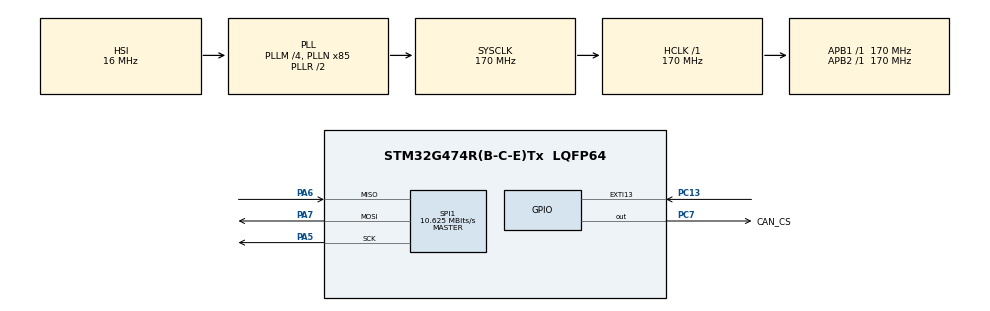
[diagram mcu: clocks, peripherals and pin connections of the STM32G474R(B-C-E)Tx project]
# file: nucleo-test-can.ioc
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Mcu.Family=STM32G4
Mcu.Name=STM32G474R(B-C-E)Tx
Mcu.Package=LQFP64
NUCLEO-G474RE.BUTTON=1
NUCLEO-G474RE.LD2=false
NUCLEO-G474RE.VCP=true
NVIC.EXTI15_10_IRQn=true\:0\:0\:false\:false\:true\:true\:true\:true
NVIC.PriorityGroup=NVIC_PRIORITYGROUP_4
PA13.GPIO_Label=T_SWDIO
PA13.Signal=SYS_JTMS-SWDIO
PA14.GPIO_Label=T_SWCLK
PA14.Signal=SYS_JTCK-SWCLK
PA2.Signal=LPUART1_TX
PA3.Signal=LPUART1_RX
PA5.Mode=Full_Duplex_Master
PA5.Signal=SPI1_SCK
PA6.Mode=Full_Duplex_Master
PA6.Signal=SPI1_MISO
PA7.Mode=Full_Duplex_Master
PA7.Signal=SPI1_MOSI
PB3.GPIO_Label=T_SWO
PB3.Signal=SYS_JTDO-SWO
PC13.Signal=GPXTI13
PC14-OSC32_IN.GPIO_Label=RCC_OSC32_IN
PC14-OSC32_IN.Signal=RCC_OSC32_IN
PC15-OSC32_OUT.GPIO_Label=RCC_OSC32_OUT
PC15-OSC32_OUT.Signal=RCC_OSC32_OUT
PC7.GPIO_Label=CAN_CS
PC7.PinState=GPIO_PIN_SET
PC7.Signal=GPIO_Output
PF0-OSC_IN.GPIO_Label=RCC_OSC_IN
PF0-OSC_IN.Signal=RCC_OSC_IN
PF1-OSC_OUT.GPIO_Label=RCC_OSC_OUT
PF1-OSC_OUT.Signal=RCC_OSC_OUT
ProjectManager.HeapSize=0x200
ProjectManager.StackSize=0x400
ProjectManager.TargetToolchain=STM32CubeIDE
RCC.ADC12Freq_Value=170000000
RCC.ADC345Freq_Value=170000000
RCC.AHBFreq_Value=170000000
RCC.APB1Freq_Value=170000000
RCC.APB1TimFreq_Value=170000000
RCC.APB2Freq_Value=170000000
RCC.APB2TimFreq_Value=170000000
RCC.CortexFreq_Value=170000000
RCC.EXTERNAL_CLOCK_VALUE=12288000
RCC.HCLKFreq_Value=170000000
RCC.HSE_VALUE=24000000
RCC.HSI48_VALUE=48000000
RCC.HSI_VALUE=16000000
RCC.LSE_VALUE=32768
RCC.PLLM=RCC_PLLM_DIV4
RCC.PLLN=85
RCC.RTCClockSelection=RCC_RTCCLKSOURCE_LSE
RCC.SYSCLKFreq_VALUE=170000000
RCC.SYSCLKSource=RCC_SYSCLKSOURCE_PLLCLK
RCC.USBFreq_Value=170000000
RCC.VCOOutputFreq_Value=340000000
SPI1.BaudRatePrescaler=SPI_BAUDRATEPRESCALER_16
SPI1.CalculateBaudRate=10.625 MBits/s
SPI1.DataSize=SPI_DATASIZE_8BIT
SPI1.Direction=SPI_DIRECTION_2LINES
SPI1.Mode=SPI_MODE_MASTER
SPI1.VirtualType=VM_MASTER
VP_NUCLEO-G474RE_VS_BSP_COMMON.Mode=COMMON
VP_SYS_VS_DBSignals.Mode=DisableDeadBatterySignals
board=NUCLEO-G474RE

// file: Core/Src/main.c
/* USER CODE BEGIN Header */
/**
  ******************************************************************************
  * @file           : main.c
  * @brief          : Main program body
  ******************************************************************************
  * @attention
  *
  * Copyright (c) 2025 STMicroelectronics.
  * All rights reserved.
  *
  * This software is licensed under terms that can be found in the LICENSE file
  * in the root directory of this software component.
  * If no LICENSE file comes with this software, it is provided AS-IS.
  *
  ******************************************************************************
  */
/* USER CODE END Header */
#include "main.h"

/* USER CODE BEGIN Includes */
#include "mcp2515.h"
#include <stdio.h>
/* USER CODE END Includes */

COM_InitTypeDef BspCOMInit;
SPI_HandleTypeDef hspi1;

/* USER CODE BEGIN PV */

/* CS pin for MCP2515 (D9 = PC7) */
#define CAN_CS_PORT GPIOC
#define CAN_CS_PIN GPIO_PIN_7

/* Torque command values in Nm */
static const float torque_commands[] = {0.0f, 0.5f, 1.0f, 0.5f};
static const uint8_t num_torque_commands = sizeof(torque_commands) / sizeof(torque_commands[0]);
static uint8_t torque_index = 0;

/* ODrive CAN node ID (axis 0) */
#define ODRIVE_NODE_ID 63
#define ODRIVE_CMD_SET_INPUT_TORQUE 0x00E
/* USER CODE END PV */

void SystemClock_Config(void);
static void MX_GPIO_Init(void);
static void MX_SPI1_Init(void);
/* USER CODE BEGIN PFP */
/* NOTE: MX_SPI1_Init() will be generated by STM32CubeIDE after configuring SPI1.
 * For now, declare it here to avoid compilation errors.
 * After configuring SPI1 in .ioc and regenerating code, this declaration
 * will be automatically generated by STM32CubeIDE.
 */
static void ODrive_SendTorqueCommand(float torque);
/* USER CODE END PFP */

int main(void)
{

  /* MCU Configuration--------------------------------------------------------*/

  /* Reset of all peripherals, Initializes the Flash interface and the Systick. */
  HAL_Init();

  /* Configure the system clock */
  SystemClock_Config();

  /* Initialize all configured peripherals */
  MX_GPIO_Init();
  MX_SPI1_Init();
  /* USER CODE BEGIN 2 */

  /* Send startup message via UART */
  printf("\r\n========================================\r\n");
  printf("ODrive CAN Torque Control Started\r\n");
  printf("========================================\r\n");

  /* Initialize MCP2515 CAN controller */
  printf("Initializing MCP2515 CAN controller...\r\n");
  if (MCP2515_Init(&hspi1, CAN_CS_PORT, CAN_CS_PIN) != HAL_OK) {
    printf("ERROR: MCP2515 initialization failed!\r\n");
    Error_Handler();
  }
  printf("MCP2515 initialized successfully\r\n");
  printf("CAN bitrate: 1 Mbps\r\n");
  printf("Starting cyclic torque commands...\r\n");
  printf("Sequence: 0.0 -> 0.5 -> 1.0 -> 0.5 Nm (repeating)\r\n");
  printf("========================================\r\n\r\n");

  /* USER CODE END 2 */

  /* Initialize USER push-button, will be used to trigger an interrupt each time it's pressed.*/
  BSP_PB_Init(BUTTON_USER, BUTTON_MODE_EXTI);

  /* Initialize COM1 port (115200, 8 bits (7-bit data + 1 stop bit), no parity */
  BspCOMInit.BaudRate   = 115200;
  BspCOMInit.WordLength = COM_WORDLENGTH_8B;
  BspCOMInit.StopBits   = COM_STOPBITS_1;
  BspCOMInit.Parity     = COM_PARITY_NONE;
  BspCOMInit.HwFlowCtl  = COM_HWCONTROL_NONE;
  if (BSP_COM_Init(COM1, &BspCOMInit) != BSP_ERROR_NONE)
  {
    Error_Handler();
  }

  /* Infinite loop */
  /* USER CODE BEGIN WHILE */
  while (1)
  {
    /* Send cyclic torque commands */
    printf("[%d] Sending torque: %.2f Nm\r\n", torque_index, torque_commands[torque_index]);
    ODrive_SendTorqueCommand(torque_commands[torque_index]);

    /* Move to next torque value */
    torque_index = (torque_index + 1) % num_torque_commands;

    /* Wait 1 second before next command */
    HAL_Delay(1000);

    /* USER CODE END WHILE */

  }
}

void SystemClock_Config(void)
{
  RCC_OscInitTypeDef RCC_OscInitStruct = {0};
  RCC_ClkInitTypeDef RCC_ClkInitStruct = {0};

  /** Configure the main internal regulator output voltage
  */
  HAL_PWREx_ControlVoltageScaling(PWR_REGULATOR_VOLTAGE_SCALE1_BOOST);

  /** Initializes the RCC Oscillators according to the specified parameters
  * in the RCC_OscInitTypeDef structure.
  */
  RCC_OscInitStruct.OscillatorType = RCC_OSCILLATORTYPE_HSI;
  RCC_OscInitStruct.HSIState = RCC_HSI_ON;
  RCC_OscInitStruct.HSICalibrationValue = RCC_HSICALIBRATION_DEFAULT;
  RCC_OscInitStruct.PLL.PLLState = RCC_PLL_ON;
  RCC_OscInitStruct.PLL.PLLSource = RCC_PLLSOURCE_HSI;
  RCC_OscInitStruct.PLL.PLLM = RCC_PLLM_DIV4;
  RCC_OscInitStruct.PLL.PLLN = 85;
  RCC_OscInitStruct.PLL.PLLP = RCC_PLLP_DIV2;
  RCC_OscInitStruct.PLL.PLLQ = RCC_PLLQ_DIV2;
  RCC_OscInitStruct.PLL.PLLR = RCC_PLLR_DIV2;
  if (HAL_RCC_OscConfig(&RCC_OscInitStruct) != HAL_OK)
  {
    Error_Handler();
  }

  /** Initializes the CPU, AHB and APB buses clocks
  */
  RCC_ClkInitStruct.ClockType = RCC_CLOCKTYPE_HCLK|RCC_CLOCKTYPE_SYSCLK
                              |RCC_CLOCKTYPE_PCLK1|RCC_CLOCKTYPE_PCLK2;
  RCC_ClkInitStruct.SYSCLKSource = RCC_SYSCLKSOURCE_PLLCLK;
  RCC_ClkInitStruct.AHBCLKDivider = RCC_SYSCLK_DIV1;
  RCC_ClkInitStruct.APB1CLKDivider = RCC_HCLK_DIV1;
  RCC_ClkInitStruct.APB2CLKDivider = RCC_HCLK_DIV1;

  if (HAL_RCC_ClockConfig(&RCC_ClkInitStruct, FLASH_LATENCY_4) != HAL_OK)
  {
    Error_Handler();
  }
}

static void MX_SPI1_Init(void)
{

  /* SPI1 parameter configuration*/
  hspi1.Instance = SPI1;
  hspi1.Init.Mode = SPI_MODE_MASTER;
  hspi1.Init.Direction = SPI_DIRECTION_2LINES;
  hspi1.Init.DataSize = SPI_DATASIZE_8BIT;
  hspi1.Init.CLKPolarity = SPI_POLARITY_LOW;
  hspi1.Init.CLKPhase = SPI_PHASE_1EDGE;
  hspi1.Init.NSS = SPI_NSS_SOFT;
  hspi1.Init.BaudRatePrescaler = SPI_BAUDRATEPRESCALER_16;
  hspi1.Init.FirstBit = SPI_FIRSTBIT_MSB;
  hspi1.Init.TIMode = SPI_TIMODE_DISABLE;
  hspi1.Init.CRCCalculation = SPI_CRCCALCULATION_DISABLE;
  hspi1.Init.CRCPolynomial = 7;
  hspi1.Init.CRCLength = SPI_CRC_LENGTH_DATASIZE;
  hspi1.Init.NSSPMode = SPI_NSS_PULSE_ENABLE;
  if (HAL_SPI_Init(&hspi1) != HAL_OK)
  {
    Error_Handler();
  }

}

static void MX_GPIO_Init(void)
{
  GPIO_InitTypeDef GPIO_InitStruct = {0};

  /* GPIO Ports Clock Enable */
  __HAL_RCC_GPIOC_CLK_ENABLE();
  __HAL_RCC_GPIOF_CLK_ENABLE();
  __HAL_RCC_GPIOA_CLK_ENABLE();
  __HAL_RCC_GPIOB_CLK_ENABLE();

  /*Configure GPIO pin Output Level */
  HAL_GPIO_WritePin(CAN_CS_GPIO_Port, CAN_CS_Pin, GPIO_PIN_SET);

  /*Configure GPIO pin : CAN_CS_Pin */
  GPIO_InitStruct.Pin = CAN_CS_Pin;
  GPIO_InitStruct.Mode = GPIO_MODE_OUTPUT_PP;
  GPIO_InitStruct.Pull = GPIO_NOPULL;
  GPIO_InitStruct.Speed = GPIO_SPEED_FREQ_LOW;
  HAL_GPIO_Init(CAN_CS_GPIO_Port, &GPIO_InitStruct);

}

/* USER CODE BEGIN 4 */

/**
  * @brief  Send torque command to ODrive S1 via CAN
  * @param  torque: Torque value in Nm
  * @retval None
  */
static void ODrive_SendTorqueCommand(float torque)
{
  MCP2515_CanMessage_t can_msg;
  uint8_t *torque_bytes = (uint8_t *)&torque;
  uint8_t i;

  /* Set CAN message ID: 0x00E for Set_Input_Torque command (node 0) */
  can_msg.id = ODRIVE_CMD_SET_INPUT_TORQUE;

  /* Set data length: 4 bytes for float */
  can_msg.dlc = 4;

  /* Copy float bytes (little-endian) */
  for (i = 0; i < 4; i++) {
    can_msg.data[i] = torque_bytes[i];
  }

  /* Send CAN message */
  if (MCP2515_SendMessage(&hspi1, CAN_CS_PORT, CAN_CS_PIN, &can_msg) != HAL_OK) {
    /* Error sending message - could add error handling here */
  }
}

/* USER CODE END 4 */

void Error_Handler(void)
{
  __disable_irq();
  while (1)
  {
  }
}
